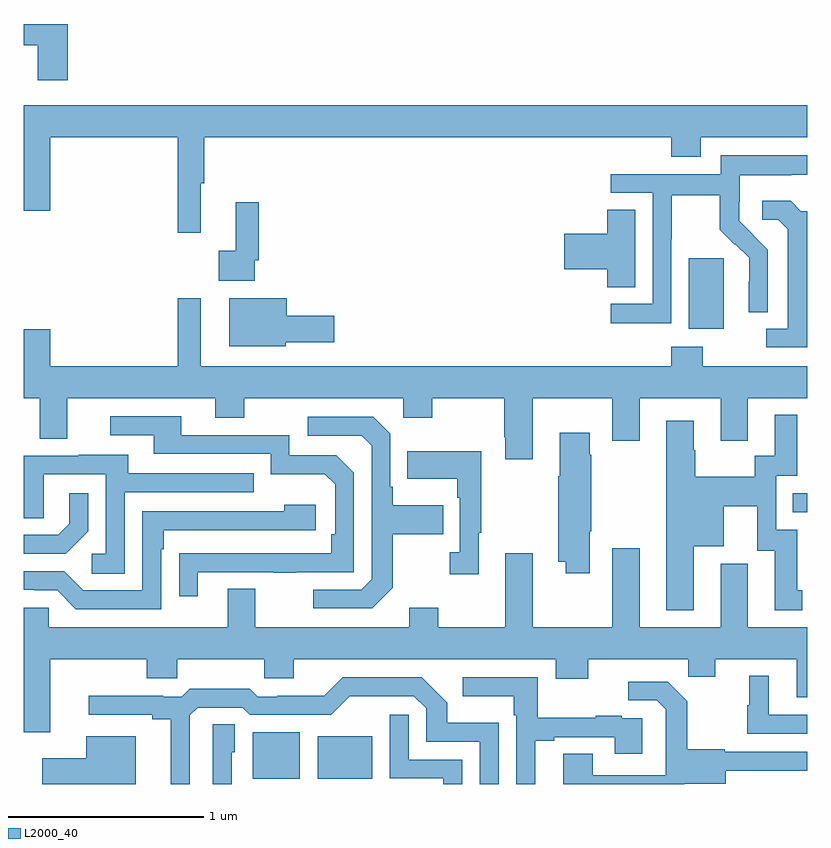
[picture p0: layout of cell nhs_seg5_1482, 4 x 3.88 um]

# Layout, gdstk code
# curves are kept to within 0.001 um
import gdstk
lib = gdstk.Library(unit=1e-6, precision=1e-09)
def R(c, l, rs):  # rectangles x0, y0, x1, y1
    for r in rs: c.add(gdstk.rectangle(r[:2], r[2:], *l))
def P(c, l, *ps):  # polygons
    for p in ps: c.add(gdstk.Polygon(p, *l))
L2000_40 = (2000, 40)

nhs_seg5_1482 = lib.new_cell('nhs_seg5_1482')
R(nhs_seg5_1482, L2000_40, [(202.169,846.827,202.408,847.063), (202.502,846.827,202.78,847.042), (204.925,848.187,205,848.283), (204.395,849.122,204.574,849.483)])
P(nhs_seg5_1482, L2000_40, [(201.224,850.678),(201,850.678),(201,850.569),(201.071,850.569),(201.071,850.392),(201.224,850.392)],
  [(201.905,849.864),(201.923,849.864),(201.923,850.1),(204.305,850.1),(204.305,850.001),(204.457,850.001),(204.457,850.1),(205,850.1),(205,850.264),(201,850.264),(201,849.726),(201.136,849.726),(201.136,850.1),(201.787,850.1),(201.787,849.612),(201.905,849.612)],
  [(204.306,849.58),(204.309,849.58),(204.309,849.804),(204.553,849.804),(204.553,849.629),(204.63,849.552),(204.633,849.555),(204.704,849.485),(204.704,849.362),(204.702,849.362),(204.702,849.208),(204.798,849.208),(204.798,849.526),(204.652,849.674),(204.652,849.771),(204.654,849.771),(204.654,849.905),(204.917,849.905),(204.917,849.909),(205,849.909),(205,850.009),(204.558,850.009),(204.558,849.912),(203.997,849.912),(203.997,849.816),(204.21,849.816),(204.21,849.249),(203.997,849.249),(203.997,849.151),(204.306,849.151)],
  [(205,849.723),(204.966,849.723),(204.914,849.775),(204.771,849.775),(204.771,849.678),(204.852,849.678),(204.899,849.631),(204.899,849.123),(204.789,849.123),(204.789,849.027),(205,849.027)],
  [(202.179,849.472),(202.199,849.472),(202.199,849.769),(202.082,849.769),(202.082,849.521),(201.996,849.521),(201.996,849.368),(202.179,849.368)],
  [(204.121,849.731),(203.978,849.731),(203.978,849.608),(203.76,849.608),(203.76,849.425),(203.978,849.425),(203.978,849.334),(204.121,849.334)],
  [(203.599,848.768),(204.005,848.768),(204.005,848.55),(204.145,848.55),(204.145,848.768),(204.557,848.768),(204.557,848.55),(204.697,848.55),(204.697,848.768),(205,848.768),(205,848.932),(204.465,848.932),(204.465,849.031),(204.305,849.031),(204.305,848.932),(201.904,848.932),(201.904,849.277),(201.787,849.277),(201.787,848.932),(201.136,848.932),(201.136,849.121),(201,849.121),(201,848.768),(201.083,848.768),(201.083,848.56),(201.223,848.56),(201.223,848.768),(201.977,848.768),(201.977,848.669),(202.125,848.669),(202.125,848.768),(202.938,848.768),(202.938,848.669),(203.085,848.669),(203.085,848.768),(203.452,848.768),(203.452,848.569),(203.459,848.569),(203.459,848.457),(203.599,848.457)],
  [(202.338,849.053),(202.585,849.053),(202.585,849.188),(202.342,849.188),(202.342,849.277),(202.049,849.277),(202.049,849.032),(202.338,849.032)],
  [(204.421,848.012),(204.574,848.012),(204.574,848.216),(204.744,848.216),(204.744,847.989),(204.833,847.989),(204.833,847.686),(204.973,847.686),(204.973,847.788),(204.949,847.788),(204.949,848.097),(204.84,848.097),(204.84,848.373),(204.949,848.373),(204.949,848.683),(204.833,848.683),(204.833,848.474),(204.732,848.474),(204.732,848.368),(204.429,848.368),(204.429,848.502),(204.421,848.502),(204.421,848.653),(204.281,848.653),(204.281,847.685),(204.421,847.685)],
  [(201.889,847.881),(202.279,847.881),(202.279,847.876),(202.391,847.876),(202.391,847.881),(202.686,847.881),(202.686,848.388),(202.596,848.478),(202.356,848.478),(202.356,848.58),(201.805,848.58),(201.805,848.676),(201.441,848.676),(201.441,848.58),(201.665,848.58),(201.665,848.484),(202.26,848.484),(202.26,848.381),(202.537,848.381),(202.59,848.328),(202.59,848.074),(202.57,848.074),(202.57,847.977),(201.793,847.976),(201.793,847.758),(201.889,847.758)],
  [(202.885,847.801),(202.885,848.074),(203.141,848.074),(203.141,848.221),(202.885,848.221),(202.885,848.317),(202.872,848.317),(202.872,848.586),(202.785,848.673),(202.449,848.673),(202.449,848.577),(202.725,848.577),(202.776,848.526),(202.776,847.845),(202.722,847.791),(202.479,847.791),(202.479,847.695),(202.779,847.695)],
  [(203.89,848.089),(203.898,848.089),(203.898,848.48),(203.89,848.48),(203.89,848.593),(203.735,848.593),(203.735,848.369),(203.728,848.369),(203.728,847.934),(203.768,847.934),(203.768,847.875),(203.89,847.875)],
  [(203.323,848.081),(203.335,848.081),(203.335,848.497),(202.957,848.497),(202.957,848.357),(203.214,848.357),(203.214,848.261),(203.226,848.261),(203.226,847.982),(203.175,847.982),(203.175,847.869),(203.323,847.869)],
  [(201.516,848.289),(202.175,848.289),(202.175,848.385),(201.535,848.385),(201.535,848.479),(201.281,848.479),(201.281,848.475),(201,848.475),(201,848.155),(201.102,848.155),(201.102,848.379),(201.42,848.379),(201.42,847.974),(201.348,847.974),(201.348,847.873),(201.516,847.873)],
  [(201.33,848.09),(201.33,848.284),(201.233,848.284),(201.233,848.127),(201.176,848.07),(201,848.07),(201,847.974),(201.214,847.974)],
  [(201.702,847.997),(201.715,847.997),(201.715,848.094),(202.492,848.094),(202.492,848.224),(202.331,848.224),(202.331,848.19),(201.606,848.19),(201.606,847.788),(201.303,847.788),(201.207,847.884),(201,847.884),(201,847.791),(201.053,847.791),(201.053,847.788),(201.171,847.788),(201.267,847.692),(201.702,847.692)],
  [(201.136,847.436),(201.628,847.436),(201.628,847.338),(201.783,847.338),(201.783,847.436),(202.228,847.436),(202.228,847.338),(202.378,847.338),(202.378,847.436),(203.717,847.436),(203.717,847.337),(203.881,847.337),(203.881,847.436),(204.391,847.436),(204.391,847.346),(204.529,847.346),(204.529,847.436),(204.947,847.436),(204.947,847.242),(205,847.242),(205,847.6),(204.697,847.6),(204.697,847.924),(204.557,847.924),(204.557,847.6),(204.145,847.6),(204.145,848.002),(204.005,848.002),(204.005,847.6),(203.599,847.6),(203.599,847.978),(203.459,847.978),(203.459,847.6),(203.115,847.6),(203.115,847.699),(202.967,847.699),(202.967,847.6),(202.183,847.6),(202.183,847.795),(202.043,847.795),(202.043,847.6),(201.129,847.6),(201.129,847.698),(201,847.698),(201,847.062),(201.136,847.062)],
  [(205,847.152),(204.802,847.152),(204.802,847.351),(204.704,847.351),(204.704,847.2),(204.693,847.2),(204.693,847.056),(205,847.056)],
  [(201.849,847.149),(201.888,847.188),(202.119,847.188),(202.155,847.152),(202.569,847.152),(202.664,847.247),(202.992,847.248),(203.055,847.185),(203.055,847.014),(203.328,847.014),(203.328,846.799),(203.424,846.799),(203.424,847.111),(203.163,847.111),(203.163,847.214),(203.032,847.344),(202.629,847.344),(202.535,847.25),(202.294,847.25),(202.294,847.245),(202.194,847.245),(202.155,847.285),(201.847,847.285),(201.807,847.245),(201.713,847.245),(201.713,847.25),(201.333,847.25),(201.333,847.152),(201.656,847.152),(201.656,847.13),(201.752,847.13),(201.752,846.799),(201.849,846.799)],
  [(203.611,847.02),(203.707,847.02),(203.707,847.038),(204.017,847.038),(204.017,846.954),(204.157,846.954),(204.157,847.134),(204.053,847.134),(204.053,847.147),(203.921,847.147),(203.921,847.136),(203.623,847.136),(203.623,847.344),(203.241,847.344),(203.241,847.247),(203.502,847.247),(203.502,847.151),(203.514,847.151),(203.514,846.799),(203.611,846.799)],
  [(204.372,846.8),(204.583,846.8),(204.583,846.867),(205,846.867),(205,846.963),(204.579,846.963),(204.579,846.976),(204.387,846.976),(204.387,847.221),(204.287,847.321),(204.087,847.321),(204.087,847.227),(204.231,847.227),(204.278,847.18),(204.278,847.085),(204.276,847.085),(204.276,846.844),(203.905,846.844),(203.905,846.953),(203.753,846.953),(203.753,846.799)],
  [(203.238,846.924),(202.965,846.924),(202.965,847.153),(202.869,847.153),(202.869,846.828),(203.142,846.828),(203.142,846.799),(203.238,846.799)],
  [(202.062,846.96),(202.078,846.96),(202.078,847.103),(201.966,847.103),(201.966,846.799),(202.062,846.799)],
  [(201.571,847.042),(201.32,847.042),(201.32,846.931),(201.096,846.931),(201.096,846.799),(201.571,846.799)])

lib.write_gds('nhs_seg5_1482.gds')
